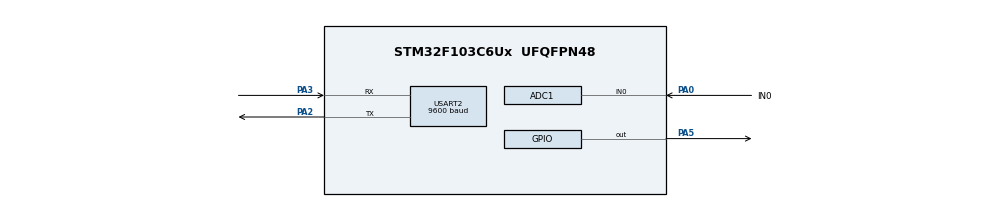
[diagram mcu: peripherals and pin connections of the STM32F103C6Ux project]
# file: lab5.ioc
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ADC1.Channel-0\#ChannelRegularConversion=ADC_CHANNEL_0
ADC1.ContinuousConvMode=ENABLE
ADC1.NbrOfConversionFlag=1
ADC1.Rank-0\#ChannelRegularConversion=1
ADC1.SamplingTime-0\#ChannelRegularConversion=ADC_SAMPLETIME_1CYCLE_5
ADC1.master=1
Mcu.Family=STM32F1
Mcu.Name=STM32F103C6Ux
Mcu.Package=UFQFPN48
NVIC.PriorityGroup=NVIC_PRIORITYGROUP_4
NVIC.USART2_IRQn=true\:0\:0\:false\:false\:true\:true\:true
PA0-WKUP.GPIO_Label=IN0
PA0-WKUP.Signal=ADCx_IN0
PA2.Mode=Asynchronous
PA2.Signal=USART2_TX
PA3.Mode=Asynchronous
PA3.Signal=USART2_RX
PA5.Signal=GPIO_Output
ProjectManager.HeapSize=0x200
ProjectManager.StackSize=0x400
ProjectManager.TargetToolchain=STM32CubeIDE
RCC.APB1Freq_Value=8000000
RCC.APB2Freq_Value=8000000
SH.ADCx_IN0.0=ADC1_IN0,IN0
USART2.BaudRate=9600
USART2.VirtualMode=VM_ASYNC
VP_SYS_VS_ND.Mode=No_Debug
board=custom

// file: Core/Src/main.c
/* USER CODE BEGIN Header */
/**
  ******************************************************************************
  * @file           : main.c
  * @brief          : Main program body
  ******************************************************************************
  * @attention
  *
  * <h2><center>&copy; Copyright (c) 2026 STMicroelectronics.
  * All rights reserved.</center></h2>
  *
  * This software component is licensed by ST under BSD 3-Clause license,
  * the "License"; You may not use this file except in compliance with the
  * License. You may obtain a copy of the License at:
  *                        opensource.org/licenses/BSD-3-Clause
  *
  ******************************************************************************
  */
/* USER CODE END Header */
#include "main.h"

/* USER CODE BEGIN Includes */
#include "command_parser.h"
#include "uart_communication.h"
/* USER CODE END Includes */

ADC_HandleTypeDef hadc1;

UART_HandleTypeDef huart2;

void SystemClock_Config(void);
static void MX_GPIO_Init(void);
static void MX_ADC1_Init(void);
static void MX_USART2_UART_Init(void);

/* USER CODE BEGIN 0 */
// hàm callback tự động chạy mỗi khi uart2 nhận xong một byte
void HAL_UART_RxCpltCallback(UART_HandleTypeDef *huart)
{
  if (huart->Instance == USART2)
  {
    // cất byte vừa nhận vào buffer vòng, chạm cuối mảng thì quay lại vị trí đầu
    buffer[index_buffer++] = temp;
    if (index_buffer >= MAX_BUFFER_SIZE)
    {
      index_buffer = 0;
    }
    // bật cờ báo cho vòng lặp chính biết đang có ký tự mới cần tách lệnh
    buffer_flag = 1;
    // kích hoạt lại ngắt nhận để đón byte kế tiếp vì thư viện hal chỉ nhận một lần rồi tắt
    HAL_UART_Receive_IT(&huart2, &temp, 1);
  }
}

// nếu đường truyền uart bị lỗi tràn bộ đệm hay nhiễu thì xóa cờ lỗi và mở lại ngắt nhận để không bị treo
void HAL_UART_ErrorCallback(UART_HandleTypeDef *huart)
{
  if (huart->Instance == USART2)
  {
    __HAL_UART_CLEAR_OREFLAG(huart);
    __HAL_UART_CLEAR_FEFLAG(huart);
    __HAL_UART_CLEAR_NEFLAG(huart);
    HAL_UART_Receive_IT(&huart2, &temp, 1);
  }
}
/* USER CODE END 0 */

int main(void)
{

  /* MCU Configuration--------------------------------------------------------*/

  /* Reset of all peripherals, Initializes the Flash interface and the Systick. */
  HAL_Init();

  /* Configure the system clock */
  SystemClock_Config();

  /* Initialize all configured peripherals */
  MX_GPIO_Init();
  MX_ADC1_Init();
  MX_USART2_UART_Init();
  /* USER CODE BEGIN 2 */
  // bật sẵn adc1 và mở ngắt nhận uart2 cho byte đầu tiên
  HAL_ADC_Start(&hadc1);
  HAL_UART_Receive_IT(&huart2, &temp, 1);
  // lưu mốc thời gian ban đầu để nháy led mà không làm đứng chương trình
  uint32_t led_tick = HAL_GetTick();
  /* USER CODE END 2 */

  /* Infinite loop */
  /* USER CODE BEGIN WHILE */
  while (1)
  {
    // phòng hờ trường hợp uart2 lỡ về trạng thái rảnh mà chưa bật lại ngắt nhận
    if (huart2.RxState == HAL_UART_STATE_READY)
    {
      HAL_UART_Receive_IT(&huart2, &temp, 1);
    }

    // xóa cờ trước rồi mới chạy parser để tránh mất cờ nếu có ngắt chen ngang lúc đang xử lý
    if (buffer_flag == 1)
    {
      buffer_flag = 0;
      command_parser_fsm();
    }
    // xử lý gửi gói adc, canh timeout 3 giây và chờ lệnh !OK#
    uart_communication_fsm(&hadc1, &huart2);

    // đảo trạng thái led vàng pa5 mỗi 500ms bằng systick thay vì dùng HAL_Delay
    if (HAL_GetTick() - led_tick >= 500)
    {
      HAL_GPIO_TogglePin(GPIOA, GPIO_PIN_5);
      led_tick = HAL_GetTick();
    }
    /* USER CODE END WHILE */

  }
}

void SystemClock_Config(void)
{
  RCC_OscInitTypeDef RCC_OscInitStruct = {0};
  RCC_ClkInitTypeDef RCC_ClkInitStruct = {0};
  RCC_PeriphCLKInitTypeDef PeriphClkInit = {0};

  /** Initializes the RCC Oscillators according to the specified parameters
  * in the RCC_OscInitTypeDef structure.
  */
  RCC_OscInitStruct.OscillatorType = RCC_OSCILLATORTYPE_HSI;
  RCC_OscInitStruct.HSIState = RCC_HSI_ON;
  RCC_OscInitStruct.HSICalibrationValue = RCC_HSICALIBRATION_DEFAULT;
  RCC_OscInitStruct.PLL.PLLState = RCC_PLL_NONE;
  if (HAL_RCC_OscConfig(&RCC_OscInitStruct) != HAL_OK)
  {
    Error_Handler();
  }
  /** Initializes the CPU, AHB and APB buses clocks
  */
  RCC_ClkInitStruct.ClockType = RCC_CLOCKTYPE_HCLK|RCC_CLOCKTYPE_SYSCLK
                              |RCC_CLOCKTYPE_PCLK1|RCC_CLOCKTYPE_PCLK2;
  RCC_ClkInitStruct.SYSCLKSource = RCC_SYSCLKSOURCE_HSI;
  RCC_ClkInitStruct.AHBCLKDivider = RCC_SYSCLK_DIV1;
  RCC_ClkInitStruct.APB1CLKDivider = RCC_HCLK_DIV1;
  RCC_ClkInitStruct.APB2CLKDivider = RCC_HCLK_DIV1;

  if (HAL_RCC_ClockConfig(&RCC_ClkInitStruct, FLASH_LATENCY_0) != HAL_OK)
  {
    Error_Handler();
  }
  PeriphClkInit.PeriphClockSelection = RCC_PERIPHCLK_ADC;
  PeriphClkInit.AdcClockSelection = RCC_ADCPCLK2_DIV2;
  if (HAL_RCCEx_PeriphCLKConfig(&PeriphClkInit) != HAL_OK)
  {
    Error_Handler();
  }
}

static void MX_ADC1_Init(void)
{

  ADC_ChannelConfTypeDef sConfig = {0};

  /** Common config
  */
  hadc1.Instance = ADC1;
  hadc1.Init.ScanConvMode = ADC_SCAN_DISABLE;
  hadc1.Init.ContinuousConvMode = ENABLE;
  hadc1.Init.DiscontinuousConvMode = DISABLE;
  hadc1.Init.ExternalTrigConv = ADC_SOFTWARE_START;
  hadc1.Init.DataAlign = ADC_DATAALIGN_RIGHT;
  hadc1.Init.NbrOfConversion = 1;
  if (HAL_ADC_Init(&hadc1) != HAL_OK)
  {
    Error_Handler();
  }
  /** Configure Regular Channel
  */
  sConfig.Channel = ADC_CHANNEL_0;
  sConfig.Rank = ADC_REGULAR_RANK_1;
  sConfig.SamplingTime = ADC_SAMPLETIME_1CYCLE_5;
  if (HAL_ADC_ConfigChannel(&hadc1, &sConfig) != HAL_OK)
  {
    Error_Handler();
  }

}

static void MX_USART2_UART_Init(void)
{

  huart2.Instance = USART2;
  huart2.Init.BaudRate = 9600;
  huart2.Init.WordLength = UART_WORDLENGTH_8B;
  huart2.Init.StopBits = UART_STOPBITS_1;
  huart2.Init.Parity = UART_PARITY_NONE;
  huart2.Init.Mode = UART_MODE_TX_RX;
  huart2.Init.HwFlowCtl = UART_HWCONTROL_NONE;
  huart2.Init.OverSampling = UART_OVERSAMPLING_16;
  if (HAL_UART_Init(&huart2) != HAL_OK)
  {
    Error_Handler();
  }

}

static void MX_GPIO_Init(void)
{
  GPIO_InitTypeDef GPIO_InitStruct = {0};

  /* GPIO Ports Clock Enable */
  __HAL_RCC_GPIOA_CLK_ENABLE();

  /*Configure GPIO pin Output Level */
  HAL_GPIO_WritePin(GPIOA, GPIO_PIN_5, GPIO_PIN_RESET);

  /*Configure GPIO pin : PA5 */
  GPIO_InitStruct.Pin = GPIO_PIN_5;
  GPIO_InitStruct.Mode = GPIO_MODE_OUTPUT_PP;
  GPIO_InitStruct.Pull = GPIO_NOPULL;
  GPIO_InitStruct.Speed = GPIO_SPEED_FREQ_LOW;
  HAL_GPIO_Init(GPIOA, &GPIO_InitStruct);

}

void Error_Handler(void)
{
  __disable_irq();
  while (1)
  {
  }
}

/************************ (C) COPYRIGHT STMicroelectronics *****END OF FILE****/
